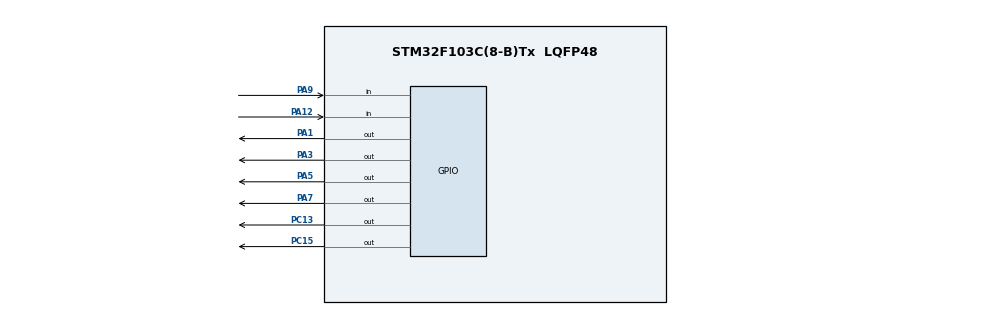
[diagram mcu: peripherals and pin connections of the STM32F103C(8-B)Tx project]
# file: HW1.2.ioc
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Mcu.Family=STM32F1
Mcu.Name=STM32F103C(8-B)Tx
Mcu.Package=LQFP48
NVIC.PriorityGroup=NVIC_PRIORITYGROUP_4
PA1.GPIO_ModeDefaultOutputPP=GPIO_MODE_OUTPUT_PP
PA1.Signal=GPIO_Output
PA12.GPIO_PuPd=GPIO_PULLUP
PA12.Signal=GPIO_Input
PA13.Mode=Serial_Wire
PA13.Signal=SYS_JTMS-SWDIO
PA14.Mode=Serial_Wire
PA14.Signal=SYS_JTCK-SWCLK
PA3.GPIO_ModeDefaultOutputPP=GPIO_MODE_OUTPUT_PP
PA3.Signal=GPIO_Output
PA5.GPIO_ModeDefaultOutputPP=GPIO_MODE_OUTPUT_PP
PA5.Signal=GPIO_Output
PA7.GPIO_ModeDefaultOutputPP=GPIO_MODE_OUTPUT_PP
PA7.Signal=GPIO_Output
PA9.GPIO_PuPd=GPIO_PULLUP
PA9.Signal=GPIO_Input
PC13-TAMPER-RTC.GPIO_ModeDefaultOutputPP=GPIO_MODE_OUTPUT_OD
PC13-TAMPER-RTC.GPIO_PuPd=GPIO_NOPULL
PC13-TAMPER-RTC.GPIO_Speed=GPIO_SPEED_FREQ_LOW
PC13-TAMPER-RTC.PinState=GPIO_PIN_SET
PC13-TAMPER-RTC.Signal=GPIO_Output
PC15-OSC32_OUT.GPIO_ModeDefaultOutputPP=GPIO_MODE_OUTPUT_PP
PC15-OSC32_OUT.Signal=GPIO_Output
ProjectManager.HeapSize=0x200
ProjectManager.StackSize=0x400
ProjectManager.TargetToolchain=MDK-ARM V5.32
RCC.APB1Freq_Value=8000000
RCC.APB2Freq_Value=8000000
board=custom

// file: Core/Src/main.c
/* USER CODE BEGIN Header */
/**
  ******************************************************************************
  * @file           : main.c
  * @brief          : Main program body
  ******************************************************************************
  * @attention
  *
  * Copyright (c) 2026 STMicroelectronics.
  * All rights reserved.
  *
  * This software is licensed under terms that can be found in the LICENSE file
  * in the root directory of this software component.
  * If no LICENSE file comes with this software, it is provided AS-IS.
  *
  ******************************************************************************
  */
/* USER CODE END Header */
#include "main.h"

void SystemClock_Config(void);
static void MX_GPIO_Init(void);

int main(void)
{

  /* MCU Configuration--------------------------------------------------------*/

  /* Reset of all peripherals, Initializes the Flash interface and the Systick. */
  HAL_Init();

  /* Configure the system clock */
  SystemClock_Config();

  /* Initialize all configured peripherals */
  MX_GPIO_Init();

  /* Infinite loop */
  /* USER CODE BEGIN WHILE */

  while (HAL_GPIO_ReadPin(GPIOA,GPIO_PIN_12)==SET&&HAL_GPIO_ReadPin(GPIOA,GPIO_PIN_9)==SET)
  {
		HAL_GPIO_WritePin(GPIOA,GPIO_PIN_7,GPIO_PIN_SET);
		HAL_Delay(100);
		HAL_GPIO_WritePin(GPIOA,GPIO_PIN_7,GPIO_PIN_RESET);
		HAL_Delay(100);
		HAL_GPIO_WritePin(GPIOA,GPIO_PIN_5,GPIO_PIN_SET);
		HAL_Delay(100);
		HAL_GPIO_WritePin(GPIOA,GPIO_PIN_5,GPIO_PIN_RESET);
		HAL_Delay(100);
		HAL_GPIO_WritePin(GPIOA,GPIO_PIN_3,GPIO_PIN_SET);
		HAL_Delay(100);
		HAL_GPIO_WritePin(GPIOA,GPIO_PIN_3,GPIO_PIN_RESET);
		HAL_Delay(100);
		HAL_GPIO_WritePin(GPIOA,GPIO_PIN_1,GPIO_PIN_SET);
		HAL_Delay(100);
		HAL_GPIO_WritePin(GPIOA,GPIO_PIN_1,GPIO_PIN_RESET);
		HAL_Delay(100);
		HAL_GPIO_WritePin(GPIOC,GPIO_PIN_15,GPIO_PIN_SET);
		HAL_Delay(100);
		HAL_GPIO_WritePin(GPIOC,GPIO_PIN_15,GPIO_PIN_RESET);
		HAL_Delay(100);

		if(HAL_GPIO_ReadPin(GPIOA,GPIO_PIN_12)==RESET)
		{
		HAL_Delay(20);
		if(HAL_GPIO_ReadPin(GPIOA,GPIO_PIN_12)==RESET){
		while(HAL_GPIO_ReadPin(GPIOA,GPIO_PIN_12)==RESET){
		HAL_GPIO_WritePin(GPIOA,GPIO_PIN_1,GPIO_PIN_SET);
		HAL_GPIO_WritePin(GPIOA,GPIO_PIN_3,GPIO_PIN_SET);
		HAL_GPIO_WritePin(GPIOA,GPIO_PIN_5,GPIO_PIN_SET);
		HAL_GPIO_WritePin(GPIOA,GPIO_PIN_7,GPIO_PIN_SET);
		HAL_GPIO_WritePin(GPIOC,GPIO_PIN_15,GPIO_PIN_SET);
		HAL_Delay(400);
		HAL_GPIO_WritePin(GPIOA,GPIO_PIN_1,GPIO_PIN_RESET);
		HAL_GPIO_WritePin(GPIOA,GPIO_PIN_3,GPIO_PIN_RESET);
		HAL_GPIO_WritePin(GPIOA,GPIO_PIN_5,GPIO_PIN_RESET);
		HAL_GPIO_WritePin(GPIOA,GPIO_PIN_7,GPIO_PIN_RESET);
		HAL_GPIO_WritePin(GPIOC,GPIO_PIN_15,GPIO_PIN_RESET);
    HAL_Delay(400);
		}}}

		else if(HAL_GPIO_ReadPin(GPIOA,GPIO_PIN_9)==RESET)
		{
		HAL_Delay(20);
		if(HAL_GPIO_ReadPin(GPIOA,GPIO_PIN_9)==RESET){
		while(HAL_GPIO_ReadPin(GPIOA,GPIO_PIN_9)==RESET){
		HAL_GPIO_WritePin(GPIOA,GPIO_PIN_1,GPIO_PIN_RESET);
		HAL_GPIO_WritePin(GPIOA,GPIO_PIN_3,GPIO_PIN_SET);
		HAL_GPIO_WritePin(GPIOA,GPIO_PIN_5,GPIO_PIN_SET);
		HAL_GPIO_WritePin(GPIOA,GPIO_PIN_7,GPIO_PIN_SET);
		HAL_GPIO_WritePin(GPIOC,GPIO_PIN_15,GPIO_PIN_RESET);
		HAL_Delay(200);
		HAL_GPIO_WritePin(GPIOA,GPIO_PIN_1,GPIO_PIN_SET);
		HAL_GPIO_WritePin(GPIOA,GPIO_PIN_3,GPIO_PIN_RESET);
		HAL_GPIO_WritePin(GPIOA,GPIO_PIN_5,GPIO_PIN_RESET);
		HAL_GPIO_WritePin(GPIOA,GPIO_PIN_7,GPIO_PIN_RESET);
		HAL_GPIO_WritePin(GPIOC,GPIO_PIN_15,GPIO_PIN_SET);
    HAL_Delay(200);
		}
	  HAL_GPIO_WritePin(GPIOC,GPIO_PIN_15,GPIO_PIN_RESET);
	  HAL_GPIO_WritePin(GPIOA,GPIO_PIN_1,GPIO_PIN_RESET);}}}
    /* USER CODE END WHILE */

}

void SystemClock_Config(void)
{
  RCC_OscInitTypeDef RCC_OscInitStruct = {0};
  RCC_ClkInitTypeDef RCC_ClkInitStruct = {0};

  /** Initializes the RCC Oscillators according to the specified parameters
  * in the RCC_OscInitTypeDef structure.
  */
  RCC_OscInitStruct.OscillatorType = RCC_OSCILLATORTYPE_HSI;
  RCC_OscInitStruct.HSIState = RCC_HSI_ON;
  RCC_OscInitStruct.HSICalibrationValue = RCC_HSICALIBRATION_DEFAULT;
  RCC_OscInitStruct.PLL.PLLState = RCC_PLL_NONE;
  if (HAL_RCC_OscConfig(&RCC_OscInitStruct) != HAL_OK)
  {
    Error_Handler();
  }

  /** Initializes the CPU, AHB and APB buses clocks
  */
  RCC_ClkInitStruct.ClockType = RCC_CLOCKTYPE_HCLK|RCC_CLOCKTYPE_SYSCLK
                              |RCC_CLOCKTYPE_PCLK1|RCC_CLOCKTYPE_PCLK2;
  RCC_ClkInitStruct.SYSCLKSource = RCC_SYSCLKSOURCE_HSI;
  RCC_ClkInitStruct.AHBCLKDivider = RCC_SYSCLK_DIV1;
  RCC_ClkInitStruct.APB1CLKDivider = RCC_HCLK_DIV1;
  RCC_ClkInitStruct.APB2CLKDivider = RCC_HCLK_DIV1;

  if (HAL_RCC_ClockConfig(&RCC_ClkInitStruct, FLASH_LATENCY_0) != HAL_OK)
  {
    Error_Handler();
  }
}

static void MX_GPIO_Init(void)
{
  GPIO_InitTypeDef GPIO_InitStruct = {0};

  /* GPIO Ports Clock Enable */
  __HAL_RCC_GPIOC_CLK_ENABLE();
  __HAL_RCC_GPIOA_CLK_ENABLE();

  /*Configure GPIO pin Output Level */
  HAL_GPIO_WritePin(GPIOC, GPIO_PIN_13, GPIO_PIN_SET);

  /*Configure GPIO pin Output Level */
  HAL_GPIO_WritePin(GPIOC, GPIO_PIN_15, GPIO_PIN_RESET);

  /*Configure GPIO pin Output Level */
  HAL_GPIO_WritePin(GPIOA, GPIO_PIN_1|GPIO_PIN_3|GPIO_PIN_5|GPIO_PIN_7, GPIO_PIN_RESET);

  /*Configure GPIO pin : PC13 */
  GPIO_InitStruct.Pin = GPIO_PIN_13;
  GPIO_InitStruct.Mode = GPIO_MODE_OUTPUT_OD;
  GPIO_InitStruct.Pull = GPIO_NOPULL;
  GPIO_InitStruct.Speed = GPIO_SPEED_FREQ_LOW;
  HAL_GPIO_Init(GPIOC, &GPIO_InitStruct);

  /*Configure GPIO pin : PC15 */
  GPIO_InitStruct.Pin = GPIO_PIN_15;
  GPIO_InitStruct.Mode = GPIO_MODE_OUTPUT_PP;
  GPIO_InitStruct.Pull = GPIO_NOPULL;
  GPIO_InitStruct.Speed = GPIO_SPEED_FREQ_LOW;
  HAL_GPIO_Init(GPIOC, &GPIO_InitStruct);

  /*Configure GPIO pins : PA1 PA3 PA5 PA7 */
  GPIO_InitStruct.Pin = GPIO_PIN_1|GPIO_PIN_3|GPIO_PIN_5|GPIO_PIN_7;
  GPIO_InitStruct.Mode = GPIO_MODE_OUTPUT_PP;
  GPIO_InitStruct.Pull = GPIO_NOPULL;
  GPIO_InitStruct.Speed = GPIO_SPEED_FREQ_LOW;
  HAL_GPIO_Init(GPIOA, &GPIO_InitStruct);

  /*Configure GPIO pins : PA9 PA12 */
  GPIO_InitStruct.Pin = GPIO_PIN_9|GPIO_PIN_12;
  GPIO_InitStruct.Mode = GPIO_MODE_INPUT;
  GPIO_InitStruct.Pull = GPIO_PULLUP;
  HAL_GPIO_Init(GPIOA, &GPIO_InitStruct);

}

void Error_Handler(void)
{
  __disable_irq();
  while (1)
  {
  }
}
